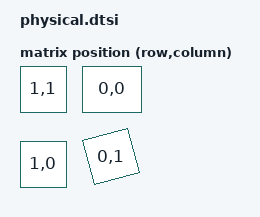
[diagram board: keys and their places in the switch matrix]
/* Synthetic source-declared geometry, not measured hardware. */
/ {
    chosen { zmk,physical-layout = &spec_physical; };
    spec_transform: transform {
        compatible = "zmk,matrix-transform";
        rows = <2>;
        columns = <2>;
        map = <RC(1,1) RC(0,0) RC(1,0) RC(0,1)>;
    };
    key_physical_attrs: key_physical_attrs {
        compatible = "zmk,key-physical-attrs";
        #key-cells = <7>;
    };
    spec_physical: physical {
        compatible = "zmk,physical-layout";
        display-name = "Synthetic geometry";
        transform = <&spec_transform>;
        keys = <&key_physical_attrs 100 100 0 0 0 0 0>,
               <&key_physical_attrs 125 100 125 0 0 0 0>,
               <&key_physical_attrs 100 100 0 150 0 0 0>,
               <&key_physical_attrs 100 100 125 150 (-1500) 125 150>;
    };
    spec_encoder_a: encoder_a { compatible = "alps,ec11"; };
    spec_encoder_b: encoder_b { compatible = "alps,ec11"; };
    sensors {
        compatible = "zmk,keymap-sensors";
        sensors = <&spec_encoder_b &spec_encoder_a>;
    };
};
